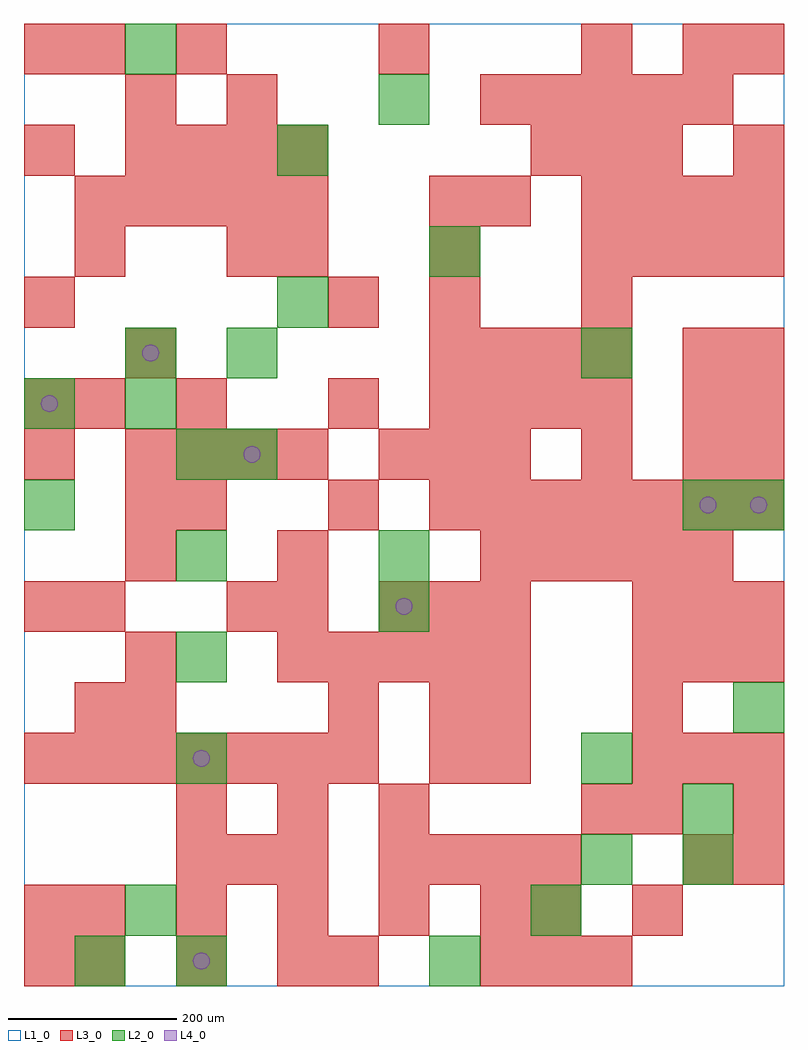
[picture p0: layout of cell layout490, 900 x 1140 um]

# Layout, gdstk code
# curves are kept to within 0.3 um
import gdstk
lib = gdstk.Library(unit=1e-6, precision=1e-09)
def R(c, l, rs):  # rectangles x0, y0, x1, y1
    for r in rs: c.add(gdstk.rectangle(r[:2], r[2:], *l))
def A(c, l, x, y, w, h, nx, ny, dx, dy):  # array of equal rectangles
    R(c, l, [(x+i*dx, y+j*dy, x+i*dx+w, y+j*dy+h) for i in range(nx) for j in range(ny)])
def P(c, l, *ps):  # polygons
    for p in ps: c.add(gdstk.Polygon(p, *l))
L1_0 = (1, 0)
L2_0 = (2, 0)
L3_0 = (3, 0)
L4_0 = (4, 0)

layout490 = lib.new_cell('layout490')
R(layout490, L1_0, [(0,0,900,1140)])
A(layout490, L2_0, 180, 240, 60, 60, 1, 4, 0, 120)
R(layout490, L2_0, [(60,0,120,60), (180,0,240,60), (480,0,540,60), (120,60,180,120), (600,60,660,120), (660,120,720,180), (780,120,840,180), (780,180,840,240), (660,240,720,300), (840,300,900,360), (420,420,480,480), (420,480,480,540), (0,540,60,600), (780,540,840,600), (840,540,900,600), (240,600,300,660), (0,660,60,720), (120,660,180,720), (120,720,180,780), (240,720,300,780), (660,720,720,780), (300,780,360,840), (480,840,540,900), (300,960,360,1020), (420,1020,480,1080), (120,1080,180,1140)])
A(layout490, L3_0, 60, 0, 60, 60, 3, 1, 120, 0)
A(layout490, L3_0, 540, 0, 60, 60, 3, 1, 60, 0)
A(layout490, L3_0, 60, 60, 60, 60, 5, 1, 120, 0)
A(layout490, L3_0, 720, 60, 60, 60, 1, 3, 0, 120)
A(layout490, L3_0, 180, 120, 60, 60, 3, 1, 60, 0)
A(layout490, L3_0, 420, 120, 60, 60, 4, 1, 60, 0)
A(layout490, L3_0, 180, 180, 60, 60, 3, 1, 120, 0)
A(layout490, L3_0, 0, 240, 60, 60, 7, 1, 60, 0)
A(layout490, L3_0, 720, 240, 60, 60, 3, 2, 60, 120)
A(layout490, L3_0, 300, 360, 60, 60, 5, 1, 60, 0)
A(layout490, L3_0, 420, 420, 60, 60, 3, 2, 60, 180)
A(layout490, L3_0, 720, 420, 60, 60, 3, 2, 60, 420)
A(layout490, L3_0, 540, 480, 60, 60, 5, 2, 60, 540)
A(layout490, L3_0, 360, 540, 60, 60, 1, 3, 0, 120)
A(layout490, L3_0, 480, 540, 60, 60, 7, 1, 60, 0)
A(layout490, L3_0, 120, 600, 60, 60, 4, 2, 60, 360)
A(layout490, L3_0, 780, 600, 60, 60, 1, 3, 0, 60)
A(layout490, L3_0, 840, 600, 60, 60, 1, 3, 0, 60)
A(layout490, L3_0, 480, 660, 60, 60, 4, 2, 60, 60)
A(layout490, L3_0, 300, 840, 60, 60, 3, 1, 180, 0)
A(layout490, L3_0, 60, 900, 60, 60, 5, 1, 60, 0)
A(layout490, L3_0, 660, 900, 60, 60, 4, 1, 60, 0)
A(layout490, L3_0, 600, 960, 60, 60, 3, 1, 60, 0)
A(layout490, L3_0, 180, 1080, 60, 60, 3, 1, 240, 0)
R(layout490, L3_0, [(0,0,60,60), (360,0,420,60), (0,60,60,120), (600,60,660,120), (780,120,840,180), (840,120,900,180), (660,180,720,240), (840,180,900,240), (480,240,540,300), (540,240,600,300), (60,300,120,360), (120,300,180,360), (360,300,420,360), (480,300,540,360), (540,300,600,360), (120,360,180,420), (0,420,60,480), (60,420,120,480), (240,420,300,480), (300,420,360,480), (120,480,180,540), (300,480,360,540), (120,540,180,600), (180,540,240,600), (0,600,60,660), (660,600,720,660), (0,660,60,720), (60,660,120,720), (180,660,240,720), (120,720,180,780), (0,780,60,840), (480,780,540,840), (660,780,720,840), (60,840,120,900), (240,840,300,900), (480,900,540,960), (540,900,600,960), (0,960,60,1020), (840,960,900,1020), (120,1020,180,1080), (240,1020,300,1080), (0,1080,60,1140), (60,1080,120,1140), (780,1080,840,1140), (840,1080,900,1140)])
P(layout490, L4_0, [(40,690),(39.239,693.827),(37.071,697.071),(33.827,699.239),(30,700),(26.173,699.239),(22.929,697.071),(20.761,693.827),(20,690),(20.761,686.173),(22.929,682.929),(26.173,680.761),(30,680),(33.827,680.761),(37.071,682.929),(39.239,686.173)],
  [(160,750),(159.239,753.827),(157.071,757.071),(153.827,759.239),(150,760),(146.173,759.239),(142.929,757.071),(140.761,753.827),(140,750),(140.761,746.173),(142.929,742.929),(146.173,740.761),(150,740),(153.827,740.761),(157.071,742.929),(159.239,746.173)],
  [(220,30),(219.239,33.827),(217.071,37.071),(213.827,39.239),(210,40),(206.173,39.239),(202.929,37.071),(200.761,33.827),(200,30),(200.761,26.173),(202.929,22.929),(206.173,20.761),(210,20),(213.827,20.761),(217.071,22.929),(219.239,26.173)],
  [(220,270),(219.239,273.827),(217.071,277.071),(213.827,279.239),(210,280),(206.173,279.239),(202.929,277.071),(200.761,273.827),(200,270),(200.761,266.173),(202.929,262.929),(206.173,260.761),(210,260),(213.827,260.761),(217.071,262.929),(219.239,266.173)],
  [(280,630),(279.239,633.827),(277.071,637.071),(273.827,639.239),(270,640),(266.173,639.239),(262.929,637.071),(260.761,633.827),(260,630),(260.761,626.173),(262.929,622.929),(266.173,620.761),(270,620),(273.827,620.761),(277.071,622.929),(279.239,626.173)],
  [(460,450),(459.239,453.827),(457.071,457.071),(453.827,459.239),(450,460),(446.173,459.239),(442.929,457.071),(440.761,453.827),(440,450),(440.761,446.173),(442.929,442.929),(446.173,440.761),(450,440),(453.827,440.761),(457.071,442.929),(459.239,446.173)],
  [(820,570),(819.239,573.827),(817.071,577.071),(813.827,579.239),(810,580),(806.173,579.239),(802.929,577.071),(800.761,573.827),(800,570),(800.761,566.173),(802.929,562.929),(806.173,560.761),(810,560),(813.827,560.761),(817.071,562.929),(819.239,566.173)],
  [(880,570),(879.239,573.827),(877.071,577.071),(873.827,579.239),(870,580),(866.173,579.239),(862.929,577.071),(860.761,573.827),(860,570),(860.761,566.173),(862.929,562.929),(866.173,560.761),(870,560),(873.827,560.761),(877.071,562.929),(879.239,566.173)])

lib.write_gds('layout490.gds')
